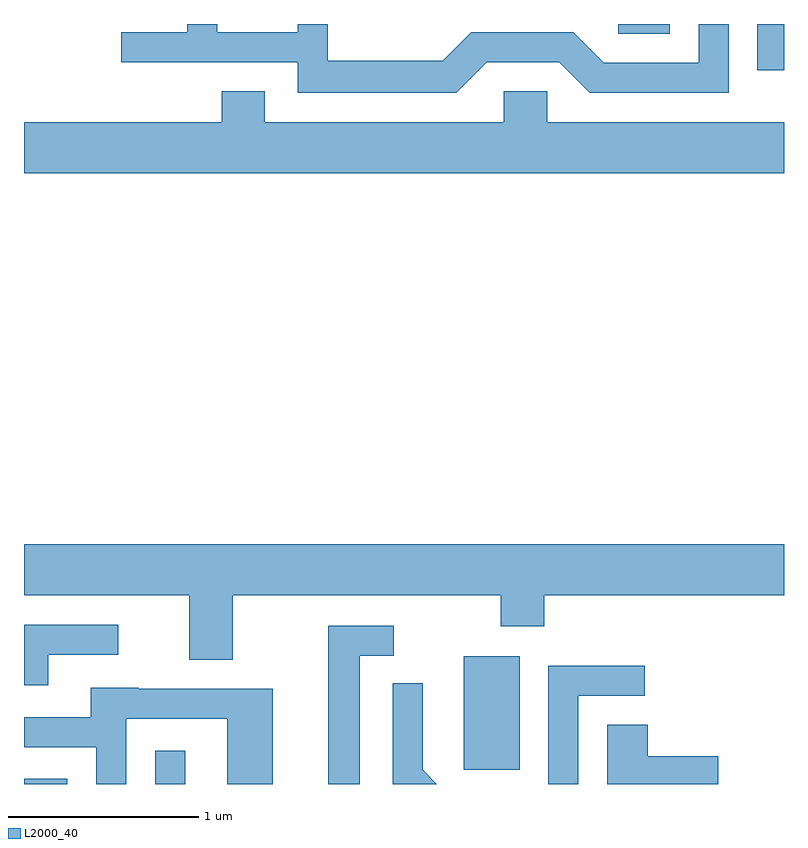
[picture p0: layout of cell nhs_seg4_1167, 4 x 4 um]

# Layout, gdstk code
import gdstk
lib = gdstk.Library(unit=1e-6, precision=1e-09)
def R(c, l, rs):  # rectangles x0, y0, x1, y1
    for r in rs: c.add(gdstk.rectangle(r[:2], r[2:], *l))
def P(c, l, *ps):  # polygons
    for p in ps: c.add(gdstk.Polygon(p, *l))
L2000_40 = (2000, 40)

nhs_seg4_1167 = lib.new_cell('nhs_seg4_1167')
R(nhs_seg4_1167, L2000_40, [(219.611,1275.982,219.839,1276.009), (220.301,1275.982,220.459,1276.158), (221.926,1276.056,222.219,1276.654), (223.471,1279.738,223.611,1279.982), (222.738,1279.931,223.009,1279.982)])
P(nhs_seg4_1167, L2000_40, [(222.047,1279.781),(222.429,1279.781),(222.589,1279.621),(223.319,1279.621),(223.319,1279.982),(223.161,1279.982),(223.161,1279.779),(222.662,1279.779),(222.502,1279.939),(221.964,1279.939),(221.814,1279.789),(221.209,1279.789),(221.209,1279.982),(221.051,1279.982),(221.051,1279.939),(220.629,1279.939),(220.629,1279.982),(220.471,1279.982),(220.471,1279.939),(220.123,1279.939),(220.123,1279.781),(221.051,1279.781),(221.051,1279.621),(221.887,1279.621)],
  [(223.611,1279.464),(222.364,1279.464),(222.364,1279.629),(222.136,1279.629),(222.136,1279.464),(220.879,1279.464),(220.879,1279.629),(220.651,1279.629),(220.651,1279.464),(219.611,1279.464),(219.611,1279.196),(223.611,1279.196)],
  [(220.709,1276.976),(222.121,1276.976),(222.121,1276.811),(222.349,1276.811),(222.349,1276.976),(223.611,1276.976),(223.611,1277.244),(219.611,1277.244),(219.611,1276.976),(220.481,1276.976),(220.481,1276.636),(220.709,1276.636)],
  [(219.739,1276.661),(220.108,1276.661),(220.108,1276.819),(219.611,1276.819),(219.611,1276.501),(219.739,1276.501)],
  [(221.379,1276.656),(221.558,1276.656),(221.558,1276.814),(221.211,1276.814),(221.211,1275.982),(221.379,1275.982)],
  [(222.529,1276.446),(222.878,1276.446),(222.878,1276.604),(222.371,1276.604),(222.371,1275.982),(222.529,1275.982)],
  [(221.709,1276.057),(221.709,1276.513),(221.551,1276.513),(221.551,1275.984),(221.553,1275.982),(221.784,1275.982)],
  [(220.149,1276.326),(220.681,1276.326),(220.681,1275.982),(220.919,1275.982),(220.919,1276.484),(220.215,1276.484),(220.215,1276.489),(219.961,1276.489),(219.961,1276.334),(219.611,1276.334),(219.611,1276.176),(219.991,1276.176),(219.991,1275.982),(220.149,1275.982)],
  [(223.264,1276.129),(222.894,1276.129),(222.894,1276.294),(222.681,1276.294),(222.681,1275.982),(223.264,1275.982)])

lib.write_gds('nhs_seg4_1167.gds')
